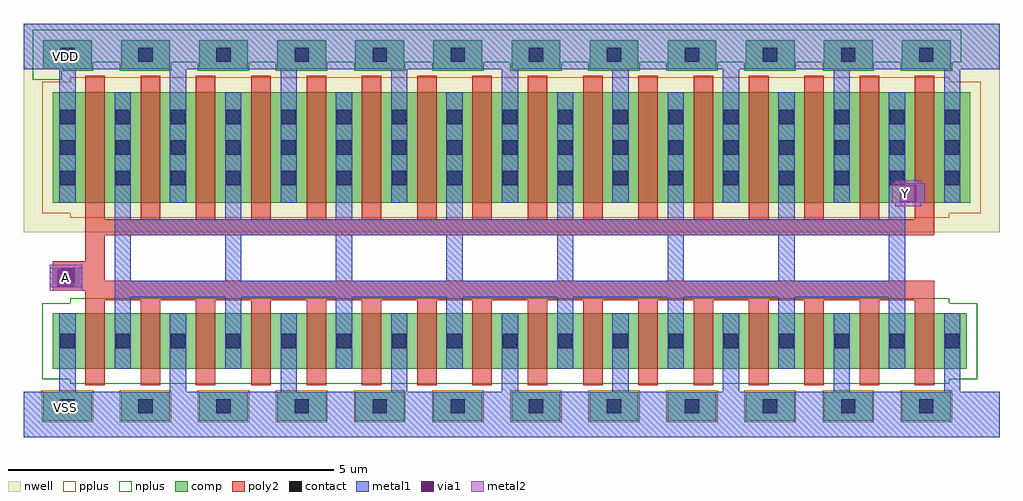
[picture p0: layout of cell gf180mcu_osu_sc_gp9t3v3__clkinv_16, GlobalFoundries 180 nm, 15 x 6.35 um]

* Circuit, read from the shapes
.subckt gf180mcu_osu_sc_gp9t3v3__clkinv_16 A VDD VSS Y
XM1 Y A VSS VSS nfet_03v3 w=0.85u l=0.3u m=16
XM2 Y A VDD VDD pfet_03v3 w=1.7u l=0.3u m=16
.ends

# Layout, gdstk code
import gdstk
lib = gdstk.Library(unit=1e-6, precision=1e-09)
def R(c, l, rs):  # rectangles x0, y0, x1, y1
    for r in rs: c.add(gdstk.rectangle(r[:2], r[2:], *l))
def A(c, l, x, y, w, h, nx, ny, dx, dy):  # array of equal rectangles
    R(c, l, [(x+i*dx, y+j*dy, x+i*dx+w, y+j*dy+h) for i in range(nx) for j in range(ny)])
nwell = (21, 0)
comp = (22, 0)
poly2 = (30, 0)
pplus = (31, 0)
nplus = (32, 0)
contact = (33, 0)
metal1 = (34, 0)
via1 = (35, 0)
metal2 = (36, 0)

gf180mcu_osu_sc_gp9t3v3_ = lib.new_cell('gf180mcu_osu_sc_gp9t3v3__clkinv_16')
R(gf180mcu_osu_sc_gp9t3v3_, nwell, [(0,3.15,15,6.35)])
A(gf180mcu_osu_sc_gp9t3v3_, comp, 0.3, 0.25, 0.75, 0.45, 12, 2, 1.2, 5.4)
R(gf180mcu_osu_sc_gp9t3v3_, comp, [(0.45,1.05,14.5,1.9), (0.45,3.6,14.55,5.3)])
A(gf180mcu_osu_sc_gp9t3v3_, poly2, 0.95, 0.8, 0.3, 1.3, 16, 1, 0.85, 0)
A(gf180mcu_osu_sc_gp9t3v3_, poly2, 0.95, 3.35, 0.3, 2.2, 16, 1, 0.85, 0)
R(gf180mcu_osu_sc_gp9t3v3_, poly2, [(0.95,2.1,14,2.25), (0.45,2.25,14,2.4), (0.45,2.4,1.25,2.7), (0.95,2.7,1.25,3.1), (0.95,3.1,14,3.35)])
A(gf180mcu_osu_sc_gp9t3v3_, pplus, 0.28, 0.23, 0.79, 0.49, 12, 1, 1.2, 0)
R(gf180mcu_osu_sc_gp9t3v3_, pplus, [(0.72,3.37,14.23,3.44), (0.29,3.44,14.71,5.46), (0.72,5.46,14.23,5.53)])
A(gf180mcu_osu_sc_gp9t3v3_, nplus, 1.48, 5.63, 0.79, 0.13, 11, 1, 1.2, 0)
R(gf180mcu_osu_sc_gp9t3v3_, nplus, [(0.72,0.82,14.23,0.89), (0.29,0.89,14.66,2.06), (0.72,2.06,14.23,2.13), (0.14,5.49,0.59,5.63), (0.14,5.63,1.07,5.76), (0.14,5.76,14.41,6.26)])
A(gf180mcu_osu_sc_gp9t3v3_, contact, 0.565, 0.365, 0.22, 0.22, 12, 2, 1.2, 5.4)
A(gf180mcu_osu_sc_gp9t3v3_, contact, 0.565, 1.365, 0.22, 0.22, 17, 2, 0.85, 2.505)
A(gf180mcu_osu_sc_gp9t3v3_, contact, 0.565, 4.34, 0.22, 0.22, 17, 2, 0.85, 0.47)
R(gf180mcu_osu_sc_gp9t3v3_, contact, [(0.565,2.365,0.785,2.585)])
A(gf180mcu_osu_sc_gp9t3v3_, metal1, 0.55, 0.7, 0.25, 1.2, 9, 1, 1.7, 0)
A(gf180mcu_osu_sc_gp9t3v3_, metal1, 1.4, 1.05, 0.25, 1.1, 8, 1, 1.7, 0)
A(gf180mcu_osu_sc_gp9t3v3_, metal1, 1.4, 2.4, 0.25, 0.7, 8, 1, 1.7, 0)
A(gf180mcu_osu_sc_gp9t3v3_, metal1, 1.4, 3.35, 0.25, 1.95, 7, 1, 1.7, 0)
A(gf180mcu_osu_sc_gp9t3v3_, metal1, 0.55, 3.6, 0.25, 2.05, 9, 1, 1.7, 0)
R(gf180mcu_osu_sc_gp9t3v3_, metal1, [(0,0,15,0.7), (1.4,2.15,13.55,2.4), (0.4,2.3,0.9,2.6), (1.4,3.1,13.55,3.35), (13.3,3.35,13.55,3.6), (13.3,3.6,13.85,3.9), (13.3,3.9,13.55,5.3), (0,5.65,15,6.35)])
R(gf180mcu_osu_sc_gp9t3v3_, via1, [(0.52,2.32,0.78,2.58), (13.47,3.62,13.73,3.88)])
R(gf180mcu_osu_sc_gp9t3v3_, metal2, [(0.4,2.25,0.9,2.65), (13.4,3.55,13.8,3.6), (13.35,3.6,13.85,3.9), (13.4,3.9,13.8,3.95)])
gf180mcu_osu_sc_gp9t3v3_.add(gdstk.Label('VDD', (0.65,5.85), layer=34, texttype=10))
gf180mcu_osu_sc_gp9t3v3_.add(gdstk.Label('VSS', (0.65,0.45), layer=34, texttype=10))
gf180mcu_osu_sc_gp9t3v3_.add(gdstk.Label('A', (0.65,2.45), layer=36, texttype=10))
gf180mcu_osu_sc_gp9t3v3_.add(gdstk.Label('Y', (13.55,3.75), layer=36, texttype=10))

lib.write_gds('gf180mcu_osu_sc_gp9t3v3__clkinv_16.gds')
